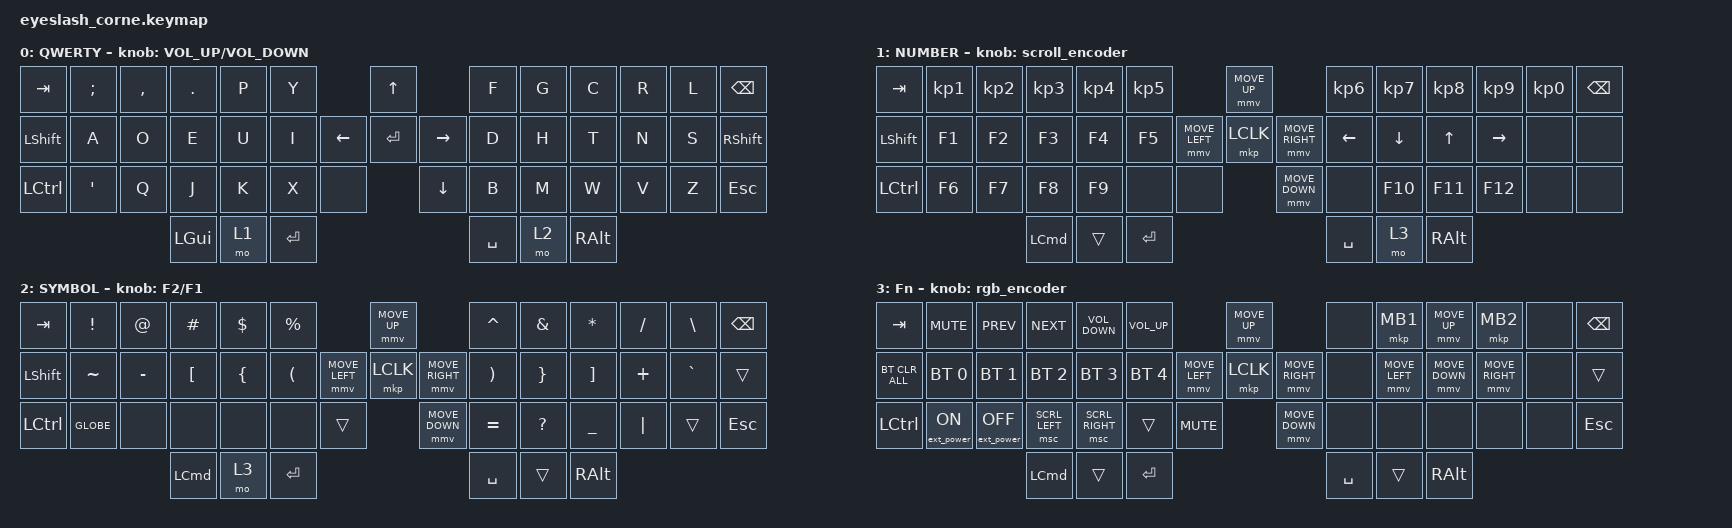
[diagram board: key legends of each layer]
#define ZMK_POINTING_DEFAULT_MOVE_VAL 1200  // 600
#define ZMK_POINTING_DEFAULT_SCRL_VAL 25   // 10

#include <input/processors.dtsi>
#include <zephyr/dt-bindings/input/input-event-codes.h>
#include <behaviors.dtsi>
#include <dt-bindings/zmk/bt.h>
#include <dt-bindings/zmk/ext_power.h>
#include <dt-bindings/zmk/keys.h>
#include <dt-bindings/zmk/pointing.h>
#include <dt-bindings/zmk/rgb.h>

&mmv_input_listener { input-processors = <&zip_xy_scaler 2 1>; };

&msc_input_listener { input-processors = <&zip_scroll_scaler 2 1>; };

&msc {
    acceleration-exponent = <1>;      // 0
    time-to-max-speed-ms = <100>;       // 300
    delay-ms = <0>;                   // 0
};

&mmv {
    time-to-max-speed-ms = <500>;
    acceleration-exponent = <1>;
    trigger-period-ms = <16>;
};

/ {
    behaviors {
        td0: td0 {
            compatible = "zmk,behavior-tap-dance";
            display-name = "Shift/Caps Lock Tap Dance";
            #binding-cells = <0>;
            bindings = <&kp LEFT_SHIFT>, <&kp CAPS>;
        };
    };

    rgb_encoder: rgb_encoder {
        compatible = "zmk,behavior-sensor-rotate";
        #sensor-binding-cells = <0>;
        bindings = <&rgb_ug RGB_BRI>, <&rgb_ug RGB_BRD>;
    };

    scroll_encoder: scroll_encoder {
        compatible = "zmk,behavior-sensor-rotate";
        #sensor-binding-cells = <0>;
        bindings = <&msc SCRL_DOWN>, <&msc SCRL_UP>;

        tap-ms = <100>;
    };

    keymap {
        compatible = "zmk,keymap";

        default_layer {
            display-name = "QWERTY";
            bindings = <
&kp TAB           &kp SEMICOLON  &kp COMMA  &kp PERIOD  &kp P  &kp Y                         &kp UP                &kp F      &kp G  &kp C          &kp R  &kp L  &kp BACKSPACE
&kp LEFT_SHIFT    &kp A          &kp O      &kp E       &kp U  &kp I               &kp LEFT  &kp ENTER  &kp RIGHT  &kp D      &kp H  &kp T          &kp N  &kp S  &kp RIGHT_SHIFT
&kp LEFT_CONTROL  &kp SQT        &kp Q      &kp J       &kp K  &kp X      &none              &kp DOWN              &kp B      &kp M  &kp W          &kp V  &kp Z  &kp ESCAPE
                                            &kp LGUI    &mo 1  &kp ENTER                                           &kp SPACE  &mo 2  &kp RIGHT_ALT
            >;

            sensor-bindings = <&inc_dec_kp C_VOLUME_UP C_VOLUME_DOWN>;
        };

        lower_layer {
            display-name = "NUMBER";
            bindings = <
&kp TAB           &kp KP_NUMBER_1  &kp KP_NUMBER_2  &kp KP_NUMBER_3   &kp KP_NUMBER_4  &kp KP_NUMBER_5                           &mmv MOVE_UP                     &kp KP_NUMBER_6  &kp KP_NUMBER_7  &kp KP_NUMBER_8  &kp KP_NUMBER_9  &kp KP_NUMBER_0  &kp BACKSPACE
&kp LEFT_SHIFT    &kp F1           &kp F2           &kp F3            &kp F4           &kp F5                    &mmv MOVE_LEFT  &mkp LCLK       &mmv MOVE_RIGHT  &kp LEFT         &kp DOWN         &kp UP           &kp RIGHT        &none            &none
&kp LEFT_CONTROL  &kp F6           &kp F7           &kp F8            &kp F9           &none            &none                    &mmv MOVE_DOWN                   &none            &kp F10          &kp F11          &kp F12          &none            &none
                                                    &kp LEFT_COMMAND  &trans           &kp ENTER                                                                  &kp SPACE        &mo 3            &kp RIGHT_ALT
            >;

            sensor-bindings = <&scroll_encoder>;
        };

        raise_layer {
            display-name = "SYMBOL";
            bindings = <
&kp TAB           &kp EXCLAMATION  &kp AT_SIGN  &kp HASH          &kp DOLLAR      &kp PERCENT                                     &mmv MOVE_UP                     &kp CARET              &kp AMPERSAND    &kp ASTERISK       &kp SLASH  &kp BACKSLASH  &kp BACKSPACE
&kp LEFT_SHIFT    &kp TILDE        &kp MINUS    &kp LEFT_BRACKET  &kp LEFT_BRACE  &kp LEFT_PARENTHESIS            &mmv MOVE_LEFT  &mkp LCLK       &mmv MOVE_RIGHT  &kp RIGHT_PARENTHESIS  &kp RIGHT_BRACE  &kp RIGHT_BRACKET  &kp PLUS   &kp GRAVE      &trans
&kp LEFT_CONTROL  &kp GLOBE        &none        &none             &none           &none                 &trans                    &mmv MOVE_DOWN                   &kp EQUAL              &kp QUESTION     &kp UNDERSCORE     &kp PIPE   &trans         &kp ESCAPE
                                                &kp LEFT_COMMAND  &mo 3           &kp ENTER                                                                        &kp SPACE              &trans           &kp RIGHT_ALT
            >;

            sensor-bindings = <&inc_dec_kp F2 F1>;
        };

        layer_3 {
            display-name = "Fn";
            bindings = <
&kp TAB           &kp K_MUTE        &kp K_PREV         &kp K_NEXT        &kp K_VOLUME_DOWN  &kp K_VOLUME_UP                                &mmv MOVE_UP                     &none      &mkp MB1        &mmv MOVE_UP    &mkp MB2         &none  &kp BACKSPACE
&bt BT_CLR_ALL    &bt BT_SEL 0      &bt BT_SEL 1       &bt BT_SEL 2      &bt BT_SEL 3       &bt BT_SEL 4                   &mmv MOVE_LEFT  &mkp LCLK       &mmv MOVE_RIGHT  &none      &mmv MOVE_LEFT  &mmv MOVE_DOWN  &mmv MOVE_RIGHT  &none  &trans
&kp LEFT_CONTROL  &ext_power EP_ON  &ext_power EP_OFF  &msc SCRL_LEFT    &msc SCRL_RIGHT    &trans           &kp C_MUTE                    &mmv MOVE_DOWN                   &none      &none           &none           &none            &none  &kp ESCAPE
                                                       &kp LEFT_COMMAND  &trans             &kp ENTER                                                                       &kp SPACE  &trans          &kp RIGHT_ALT
            >;

            sensor-bindings = <&rgb_encoder>;
        };
    };
};
